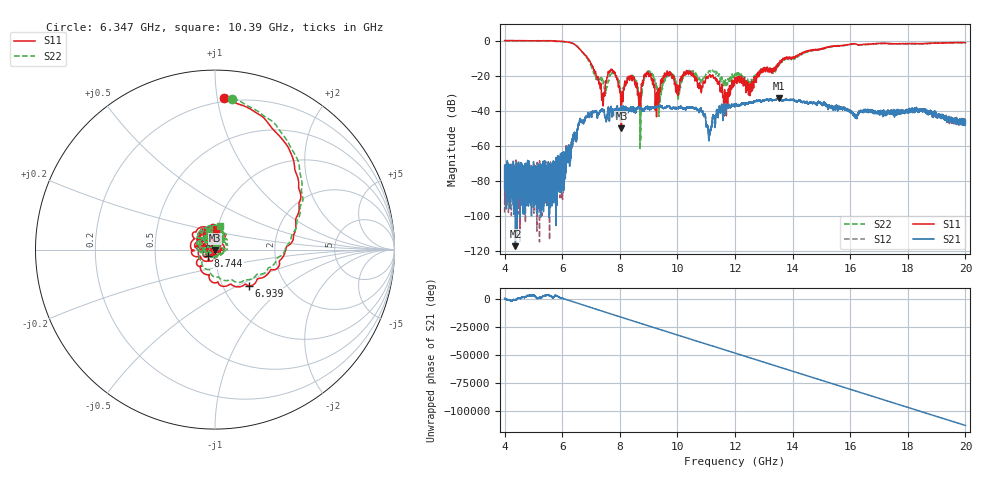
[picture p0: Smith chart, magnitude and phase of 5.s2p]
[Version] 2.0
! Rohde & Schwarz Vector Network Analyzer
! Rohde-Schwarz,ZNL20-2Port,1323001220200009,1.71.1.10-23.02.1.238
! Port Assignments:
! Nominal Port -> Actual Test Port
!  1 -> 1
!  2 -> 2
! Created: GMT+2 2025-01-17 12:08:05
# Hz S RI R 50
[Number of Ports] 2
[Two-Port Data Order] 21_12
! freq[Hz]  S11[Re]  S11[Im]  S21[Re]  S21[Im]  S12[Re]  S12[Im]  S22[Re]  S22[Im]
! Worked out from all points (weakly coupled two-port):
!   16001 points, 4 GHz to 20 GHz, reference 50 ohm
!   highest |S21| = -32.92 dB at 13.51 GHz (marker M1); lowest = -117.2 dB at 4.376 GHz (marker M2)
!   lowest |S11| = -50.0 dB at 8.056 GHz (marker M3), VSWR 1.01, Z = 49.9 - j0.306 ohm
!   |S11| at or under -10 dB: 6.887 GHz to 13.7 GHz (6.814 GHz wide, 66.2 % of centre); 13.71225 GHz to 13.74174 GHz (29.49 MHz wide, 0.215 % of centre); 13.9422 GHz to 13.96574 GHz (23.53 MHz wide, 0.169 % of centre) (the widest 3 of 9)
!   |S22| runs from -62.0 to 0.0 dB; largest |S21 - S12| = 0.0027
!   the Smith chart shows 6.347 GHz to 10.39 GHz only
!   S11 on the Smith chart (normalised r, x): 6.347 GHz: 0.17, +1.05; 6.939 GHz: 1.32, -0.58; 8.744 GHz: 0.92, -0.07; 10.39 GHz: 0.99, +0.23
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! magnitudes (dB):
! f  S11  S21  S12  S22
! 4 GHz  0.0  -71.6  -98.1  -0.2
! 4.376 GHz  0.0  -117.2  -79.2  -0.2
! 5.752 GHz  -0.2  -81.5  -77.8  -0.5
! 6.347 GHz  -1.4  -59.3  -58.1  -1.5
! 6.667 GHz  -5.9  -46.3  -45.6  -6.0
! 6.939 GHz  -11.2  -43.8  -43.7  -12.3
! 7.401 GHz  -30.5  -39.2  -39.1  -22.3
! 7.72 GHz  -16.8  -41.3  -41.7  -18.8
! 8.056 GHz  -50.0  -37.5  -37.4  -30.7
! 8.424 GHz  -22.7  -39.6  -39.6  -21.6
! 8.744 GHz  -25.6  -38.8  -38.8  -29.5
! 8.999 GHz  -20.1  -38.0  -38.1  -18.7
! 9.334 GHz  -28.0  -37.8  -37.5  -30.4
! 9.585 GHz  -20.3  -38.1  -38.2  -21.5
! 10.39 GHz  -18.7  -38.1  -38.3  -17.5
! 11.11 GHz  -19.6  -54.3  -53.7  -17.3
! 11.67 GHz  -30.7  -42.0  -42.0  -22.4
! 12 GHz  -21.3  -37.7  -37.7  -19.2
! 13.51 GHz  -13.8  -32.9  -33.1  -13.9
! 14.67 GHz  -5.4  -35.5  -35.3  -5.9
! 17.33 GHz  -1.8  -41.3  -41.1  -1.8
! 20 GHz  -1.2  -47.4  -45.2  -1.2
